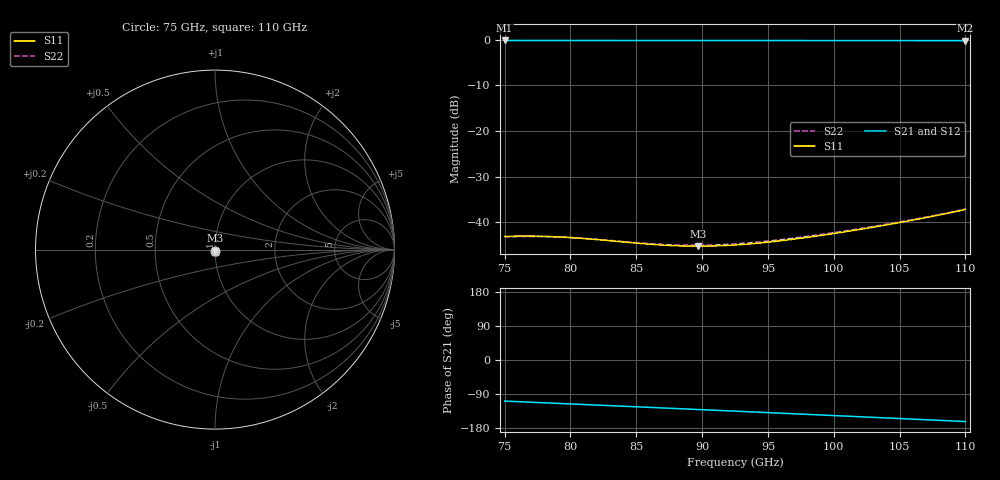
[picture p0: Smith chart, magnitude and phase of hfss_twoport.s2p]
! Source: https://github.com/scikit-rf/scikit-rf/blob/950534a5928d5c99e3fea2beaec7d82519800b0c/skrf/tests/hfss_twoport.s2p
! License: BSD-3-Clause
! Touchstone file from project gndCpw
! Exported from HFSS 14.0.0
! Variables:
!  airbox_h = 500um
!  cc_h = 6.7um
!  cc_l = 2mm
!  cc_w = 70um
!  cpw_pitch = 155um
!  gap = 70um
!  l_2_via1 = 250um
!  length = 500um
!  oc_w = 70um
!  s = 30um
!  sub_h = 100um
!  sub_w = 465um
!  via_r = 30um
!  wp_w_factor = 1.3
!Data is not renormalized
# GHZ S MA
! Modal data exported
! Port[1] = 1:1
! Port[2] = 2:1
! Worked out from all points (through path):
!   101 points, 75 GHz to 110 GHz, reference per port
!   highest |S21| = -0.14 dB at 75 GHz (marker M1); lowest = -0.2 dB at 110 GHz (marker M2)
!   group delay of S21, straight-line fit = 4.28 ps
!   lowest |S11| = -45.2 dB at 89.7 GHz (marker M3), VSWR 1.01
!   |S11| at or under -10 dB: start of sweep to end of sweep
!   |S22| runs from -45.0 to -37.1 dB; largest |S21 - S12| = 5e-12
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75  0.007046 -86.2  0.9841 -108.4  0.9841 -108.4  0.006948 -85.9
! Gamma ! 10.3322101252995 3736.34654552359 9.8996147444026 3736.11167025233
! Port Impedance 49.6880494439638 -0.112098324722594 49.626538212863 -0.112974315275203
76.75  0.007081 -90.7  0.9839 -111.1  0.9839 -111.1  0.007029 -90.5
78.15  0.007024 -94.2  0.9838 -113.2  0.9838 -113.2  0.007005 -94.1
79.55  0.006887 -97.4  0.9837 -115.3  0.9837 -115.3  0.006897 -97.5
80.95  0.006683 -100.1  0.9836 -117.4  0.9836 -117.4  0.006713 -100.3
83.75  0.006167 -103.2  0.9833 -121.6  0.9833 -121.6  0.006226 -103.5
85.5  0.005859 -103.1  0.9832 -124.3  0.9832 -124.3  0.005936 -103.6
86.9  0.005667 -102.1  0.9831 -126.4  0.9831 -126.4  0.00576 -102.6
88.3  0.005544 -100.3  0.9829 -128.5  0.9829 -128.5  0.005655 -101.0
89.7  0.005502 -98.0  0.9828 -130.7  0.9828 -130.7  0.005631 -98.9
91.1  0.005544 -95.5  0.9826 -132.8  0.9826 -132.8  0.005689 -96.6
92.5  0.005669 -93.0  0.9825 -135.0  0.9825 -135.0  0.005826 -94.3
93.9  0.005872 -90.6  0.9823 -137.1  0.9823 -137.1  0.006039 -92.1
95.3  0.006148 -88.6  0.9822 -139.3  0.9822 -139.3  0.00632 -90.3
96.7  0.006492 -86.8  0.982 -141.5  0.982 -141.5  0.006667 -88.8
98.45  0.007016 -85.2  0.9817 -144.2  0.9817 -144.2  0.007191 -87.3
101.25  0.008072 -83.7  0.9813 -148.6  0.9813 -148.6  0.00824 -86.0
103  0.008884 -83.4  0.981 -151.3  0.981 -151.3  0.009046 -85.7
104.4  0.009631 -83.4  0.9808 -153.6  0.9808 -153.6  0.009787 -85.8
107.2  0.01145 -84.5  0.9803 -158.0  0.9803 -158.0  0.0116 -86.7
108.6  0.01257 -85.4  0.9799 -160.2  0.9799 -160.2  0.01271 -87.6
110  0.01386 -86.7  0.9796 -162.5  0.9796 -162.5  0.014 -88.8
